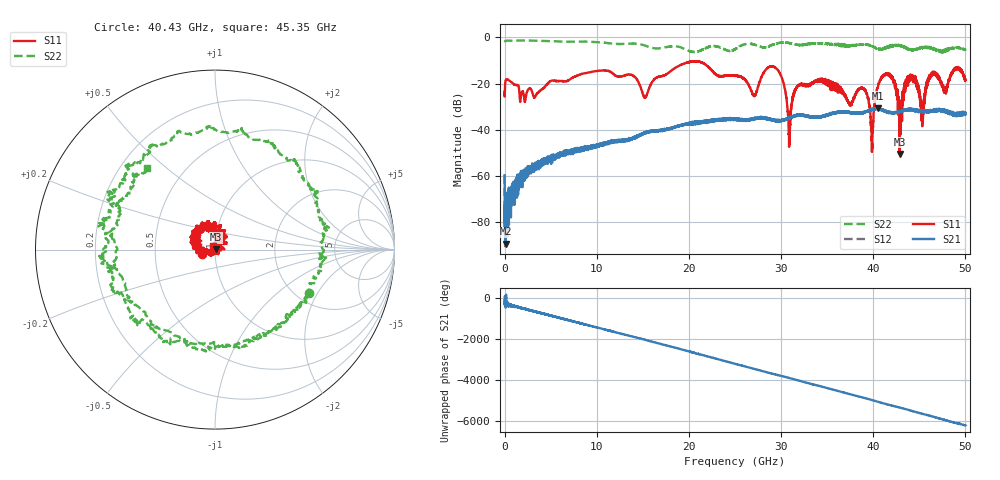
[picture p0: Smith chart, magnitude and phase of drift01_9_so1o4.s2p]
!Created with skrf (http://scikit-rf.org).
# Hz S RI R 50.0
!freq ReS11 ImS11 ReS21 ImS21 ReS12 ImS12 ReS22 ImS22
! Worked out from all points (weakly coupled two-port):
!   10001 points, 300 kHz to 50 GHz, reference 50 ohm
!   highest |S21| = -30.69 dB at 40.47 GHz (marker M1); lowest = -89.2 dB at 110.3 MHz (marker M2)
!   lowest |S11| = -50.4 dB at 42.86 GHz (marker M3), VSWR 1.01, Z = 50.3 + j0.083 ohm
!   |S11| at or under -10 dB: start of sweep to end of sweep
!   |S22| runs from -6.6 to -1.4 dB; largest |S21 - S12| = 0.0048
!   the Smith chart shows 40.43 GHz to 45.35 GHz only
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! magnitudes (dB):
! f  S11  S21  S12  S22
! 300 kHz  -23.6  -59.6  -59.7  -2.1
! 110.3 MHz  -18.6  -89.2  -75.2  -1.5
! 8.335 GHz  -15.9  -48.0  -48.8  -1.8
! 13.78 GHz  -16.3  -43.7  -43.8  -2.7
! 15.23 GHz  -26.1  -41.2  -41.2  -3.6
! 16.67 GHz  -17.0  -40.7  -40.3  -4.8
! 25 GHz  -16.6  -35.4  -35.4  -5.2
! 27.11 GHz  -25.1  -35.0  -35.3  -3.2
! 29.43 GHz  -13.2  -36.2  -35.8  -2.7
! 30.91 GHz  -42.6  -35.3  -34.7  -2.6
! 31.66 GHz  -21.8  -33.8  -33.7  -3.2
! 33.34 GHz  -19.8  -34.5  -34.4  -2.7
! 37.51 GHz  -29.1  -32.5  -32.5  -3.5
! 38.91 GHz  -22.1  -32.6  -32.6  -3.0
! 39.84 GHz  -42.9  -31.2  -31.3  -3.8
! 40.47 GHz  -22.0  -30.7  -30.8  -5.0
! 41.67 GHz  -16.1  -32.4  -32.5  -4.3
! 42.86 GHz  -50.4  -31.9  -32.1  -3.5
! 44.07 GHz  -17.4  -31.1  -31.2  -5.3
! 45.31 GHz  -37.0  -31.7  -32.0  -4.4
! 46.42 GHz  -16.1  -31.5  -31.8  -4.8
! 50 GHz  -18.3  -32.9  -32.7  -5.4
